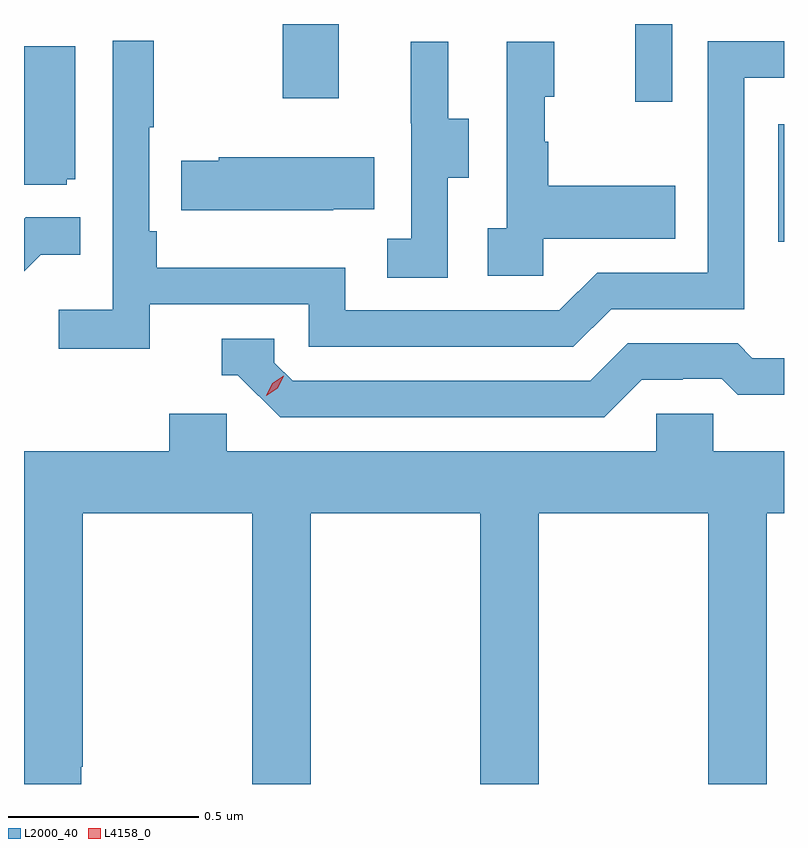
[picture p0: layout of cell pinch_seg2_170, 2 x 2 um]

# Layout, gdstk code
import gdstk
lib = gdstk.Library(unit=1e-6, precision=1e-09)
def R(c, l, rs):  # rectangles x0, y0, x1, y1
    for r in rs: c.add(gdstk.rectangle(r[:2], r[2:], *l))
def P(c, l, *ps):  # polygons
    for p in ps: c.add(gdstk.Polygon(p, *l))
L2000_40 = (2000, 40)
L4158_0 = (4158, 0)

pinch_seg2_170 = lib.new_cell('pinch_seg2_170')
R(pinch_seg2_170, L2000_40, [(1104.636,627.039,1104.651,627.348), (1104.26,627.408,1104.357,627.612), (1103.332,627.417,1103.479,627.612)])
P(pinch_seg2_170, L2000_40, [(1102.982,626.874),(1103.4,626.874),(1103.4,626.763),(1104.097,626.763),(1104.196,626.862),(1104.546,626.862),(1104.546,627.471),(1104.651,627.471),(1104.651,627.567),(1104.45,627.567),(1104.45,626.958),(1104.159,626.958),(1104.06,626.859),(1103.496,626.859),(1103.496,626.971),(1103,626.971),(1103,627.067),(1102.98,627.067),(1102.98,627.34),(1102.993,627.34),(1102.993,627.568),(1102.884,627.568),(1102.884,626.86),(1102.743,626.86),(1102.743,626.758),(1102.982,626.758)],
  [(1104.018,627.047),(1104.365,627.047),(1104.365,627.187),(1104.031,627.187),(1104.031,627.302),(1104.021,627.302),(1104.021,627.42),(1104.046,627.42),(1104.046,627.565),(1103.922,627.565),(1103.922,627.074),(1103.871,627.074),(1103.871,626.949),(1104.018,626.949)],
  [(1103.766,627.208),(1103.821,627.208),(1103.821,627.363),(1103.767,627.363),(1103.767,627.565),(1103.669,627.565),(1103.669,627.351),(1103.67,627.351),(1103.67,627.047),(1103.607,627.047),(1103.607,626.944),(1103.766,626.944)],
  [(1102.764,627.204),(1102.786,627.204),(1102.786,627.553),(1102.651,627.553),(1102.651,627.189),(1102.764,627.189)],
  [(1103.465,627.125),(1103.573,627.125),(1103.573,627.262),(1103.163,627.262),(1103.163,627.252),(1103.065,627.252),(1103.065,627.122),(1103.465,627.122)],
  [(1102.695,627.005),(1102.799,627.005),(1102.799,627.104),(1102.655,627.104),(1102.651,627.1),(1102.651,626.961)],
  [(1104.277,626.676),(1104.384,626.676),(1104.384,626.679),(1104.487,626.679),(1104.529,626.637),(1104.651,626.637),(1104.651,626.733),(1104.568,626.733),(1104.529,626.772),(1104.24,626.772),(1104.141,626.673),(1103.358,626.673),(1103.31,626.721),(1103.31,626.784),(1103.171,626.784),(1103.171,626.688),(1103.214,626.688),(1103.325,626.577),(1104.178,626.577)],
  [(1102.651,625.612),(1102.801,625.612),(1102.801,625.657),(1102.806,625.657),(1102.806,626.324),(1103.251,626.324),(1103.251,625.612),(1103.406,625.612),(1103.406,626.324),(1103.851,626.324),(1103.851,625.612),(1104.006,625.612),(1104.006,626.324),(1104.451,626.324),(1104.451,625.612),(1104.606,625.612),(1104.606,626.324),(1104.651,626.324),(1104.651,626.488),(1104.465,626.488),(1104.465,626.586),(1104.315,626.586),(1104.315,626.488),(1103.184,626.488),(1103.184,626.586),(1103.033,626.586),(1103.033,626.488),(1102.651,626.488)])
P(pinch_seg2_170, L4158_0, [(1103.288,626.634),(1103.288,626.634),(1103.304,626.667),(1103.334,626.686),(1103.334,626.686),(1103.334,626.686),(1103.319,626.653),(1103.289,626.634)])

lib.write_gds('pinch_seg2_170.gds')
